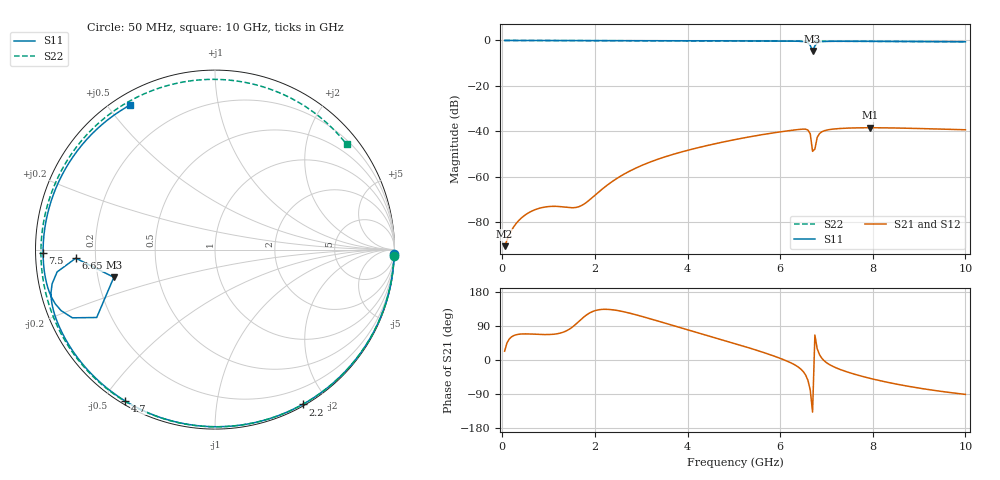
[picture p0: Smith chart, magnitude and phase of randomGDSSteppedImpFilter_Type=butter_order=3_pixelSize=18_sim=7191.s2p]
! freq	dB(S11)	phase(S11)	dB(S12)	phase(S12)
!  dB(S21)	phase(S21)	dB(S22)	phase(S22)
!S-par simulation data
#  GHz  S  DB  R 50
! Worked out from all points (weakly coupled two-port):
!   200 points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, 50 MHz to 10 GHz, reference 50 ohm
!   highest |S21| = -38.40 dB at 7.95 GHz (marker M1); lowest = -90.5 dB at 50 MHz (marker M2)
!   lowest |S11| = -4.7 dB at 6.7 GHz (marker M3), VSWR 3.81, Z = 13.3 - j6.25 ohm
!   |S11| at or under -10 dB: nowhere
!   |S22| runs from -0.5 to 0.0 dB; largest |S21 - S12| = 0
!   S11 on the Smith chart (normalised r, x): 50 MHz: 3, -78; 2.2 GHz: 0.02, -1.72; 4.7 GHz: 0.01, -0.57; 6.65 GHz: 0.13, -0.03; 7.5 GHz: 0.02, -0.01; 10 GHz: 0.05, +0.57
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0.05  -0.01 -1.5  -90.49 23.2  -90.49 23.2  -0.02 -1.9
0.3  -0.02 -8.5  -80.50 66.6  -80.50 66.6  -0.02 -11.0
0.85  -0.03 -24.0  -73.55 67.3  -73.55 67.3  -0.04 -30.8
1.75  -0.06 -48.6  -72.17 112.3  -72.17 112.3  -0.08 -62.2
2.2  -0.08 -60.5  -64.69 133.8  -64.69 133.8  -0.10 -77.2
2.75  -0.09 -74.5  -57.48 123.6  -57.48 123.6  -0.12 -94.8
3.4  -0.12 -90.5  -51.96 101.4  -51.96 101.4  -0.14 -114.8
4.7  -0.17 -120.7  -44.97 55.0  -44.97 55.0  -0.21 -152.9
5.05  -0.19 -128.6  -43.51 42.4  -43.51 42.4  -0.23 -162.9
5.75  -0.24 -144.4  -40.98 15.4  -40.98 15.4  -0.27 176.8
6.4  -0.37 -161.2  -39.16 -19.4  -39.16 -19.4  -0.32 157.6
6.55  -0.65 -168.1  -39.04 -39.6  -39.04 -39.6  -0.33 153.1
6.65  -2.19 -176.5  -41.08 -79.4  -41.08 -79.4  -0.34 150.1
6.7  -4.67 -164.7  -48.78 -137.5  -48.78 -137.5  -0.34 148.6
6.75  -2.38 -150.1  -47.77 65.9  -47.77 65.9  -0.34 147.1
6.8  -1.10 -154.4  -42.64 29.8  -42.64 29.8  -0.35 145.5
6.9  -0.54 -161.3  -40.18 4.6  -40.18 4.6  -0.35 142.5
7.5  -0.37 -179.0  -38.53 -33.6  -38.53 -33.6  -0.40 123.6
7.95  -0.40 170.4  -38.40 -48.7  -38.40 -48.7  -0.43 109.0
8.35  -0.44 161.1  -38.46 -59.7  -38.46 -59.7  -0.45 95.6
9.15  -0.51 141.9  -38.82 -77.0  -38.82 -77.0  -0.49 68.1
10  -0.59 120.4  -39.29 -90.8  -39.29 -90.8  -0.55 38.7
